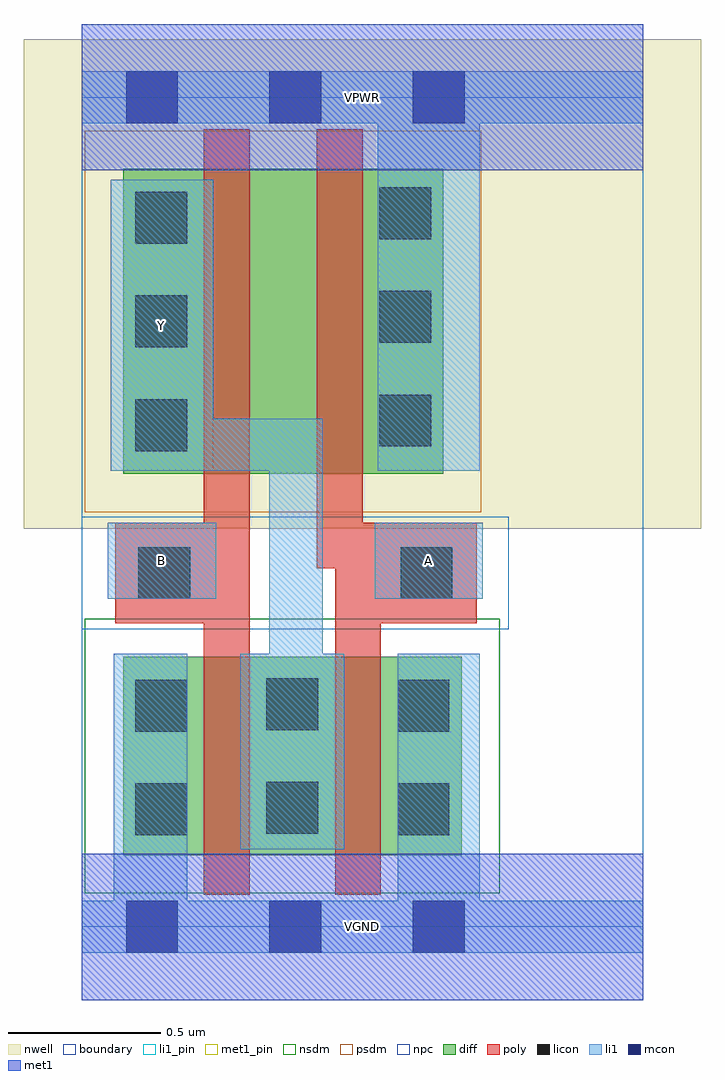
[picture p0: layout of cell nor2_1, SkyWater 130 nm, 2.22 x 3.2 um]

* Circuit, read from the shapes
.subckt nor2_1 A B VGND VPWR Y
XM1 Y B VGND VSUBS sky130_fd_pr__nfet_01v8 w=0.65 l=0.15
XM2 VGND A Y VSUBS sky130_fd_pr__nfet_01v8 w=0.65 l=0.15
XM3 n1 B Y n2 sky130_fd_pr__pfet_01v8 w=1 l=0.15
XM4 VPWR A n1 n2 sky130_fd_pr__pfet_01v8 w=1 l=0.15
.ends

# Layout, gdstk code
import gdstk
lib = gdstk.Library(unit=1e-6, precision=1e-09)
def R(c, l, rs):  # rectangles x0, y0, x1, y1
    for r in rs: c.add(gdstk.rectangle(r[:2], r[2:], *l))
def A(c, l, x, y, w, h, nx, ny, dx, dy):  # array of equal rectangles
    R(c, l, [(x+i*dx, y+j*dy, x+i*dx+w, y+j*dy+h) for i in range(nx) for j in range(ny)])
nwell = (64, 20)
diff = (65, 20)
poly = (66, 20)
licon = (66, 44)
li1_pin = (67, 16)
li1 = (67, 20)
mcon = (67, 44)
met1_pin = (68, 16)
met1 = (68, 20)
nsdm = (93, 44)
psdm = (94, 20)
npc = (95, 20)
boundary = (235, 4)

nor2_1 = lib.new_cell('nor2_1')
R(nor2_1, nwell, [(-0.19,1.305,2.03,2.91), (0,1.305,1.84,2.91)])
R(nor2_1, diff, [(0.135,0.235,1.245,0.885), (0.135,1.485,1.185,2.485)])
R(nor2_1, poly, [(0.4,0.105,0.55,2.615), (0.83,0.105,0.98,1.325), (0.11,0.995,0.55,1.325), (0.83,0.995,1.295,1.325), (0.77,1.175,0.92,2.615)])
A(nor2_1, licon, 0.175, 1.56, 0.17, 0.17, 1, 3, 0, 0.34)
A(nor2_1, licon, 0.975, 1.575, 0.17, 0.17, 1, 3, 0, 0.34)
R(nor2_1, licon, [(0.175,0.3,0.345,0.47), (1.035,0.3,1.205,0.47), (0.605,0.305,0.775,0.475), (0.175,0.64,0.345,0.81), (1.035,0.64,1.205,0.81), (0.605,0.645,0.775,0.815), (0.185,1.075,0.355,1.245), (1.045,1.075,1.215,1.245)])
R(nor2_1, li1_pin, [(0.085,1.075,0.44,1.325), (0.96,1.075,1.315,1.325), (0.095,1.495,0.43,2.45)])
R(nor2_1, li1, [(0,-0.085,1.84,0.085), (0.105,-0.085,0.345,0.895), (1.035,-0.085,1.305,0.895), (0.52,0.255,0.86,0.895), (0.615,0.255,0.79,1.665), (0.085,1.075,0.44,1.325), (0.96,1.075,1.315,1.325), (0.095,1.495,0.43,2.45), (0.095,1.495,0.79,1.665), (0.97,1.495,1.305,2.805), (0,2.635,1.84,2.805)])
A(nor2_1, mcon, 0.145, -0.085, 0.17, 0.17, 3, 2, 0.47, 2.72)
R(nor2_1, met1_pin, [(0,-0.24,1.84,0.24), (0,2.48,1.84,2.96)])
R(nor2_1, met1, [(0,-0.24,1.84,0.24), (0,2.48,1.84,2.96)])
R(nor2_1, nsdm, [(0.01,0.11,1.37,1.01)])
R(nor2_1, psdm, [(0.01,1.36,1.31,2.61)])
R(nor2_1, npc, [(0,0.975,1.4,1.345)])
R(nor2_1, boundary, [(0,0,1.84,2.72)])
nor2_1.add(gdstk.Label('A', (1.137,1.2), layer=67, texttype=5))
nor2_1.add(gdstk.Label('B', (0.262,1.2), layer=67, texttype=5))
nor2_1.add(gdstk.Label('Y', (0.262,1.972), layer=67, texttype=5))
nor2_1.add(gdstk.Label('VPWR', (0.92,2.72), layer=68, texttype=5))
nor2_1.add(gdstk.Label('VGND', (0.92,0), layer=68, texttype=5))
nor2_1.add(gdstk.Label('A', (1.137,1.2), layer=67, texttype=16))
nor2_1.add(gdstk.Label('B', (0.262,1.2), layer=67, texttype=16))
nor2_1.add(gdstk.Label('Y', (0.262,1.972), layer=67, texttype=16))
nor2_1.add(gdstk.Label('VPWR', (0.92,2.72), layer=68, texttype=16))
nor2_1.add(gdstk.Label('VGND', (0.92,0), layer=68, texttype=16))

lib.write_gds('nor2_1.gds')
